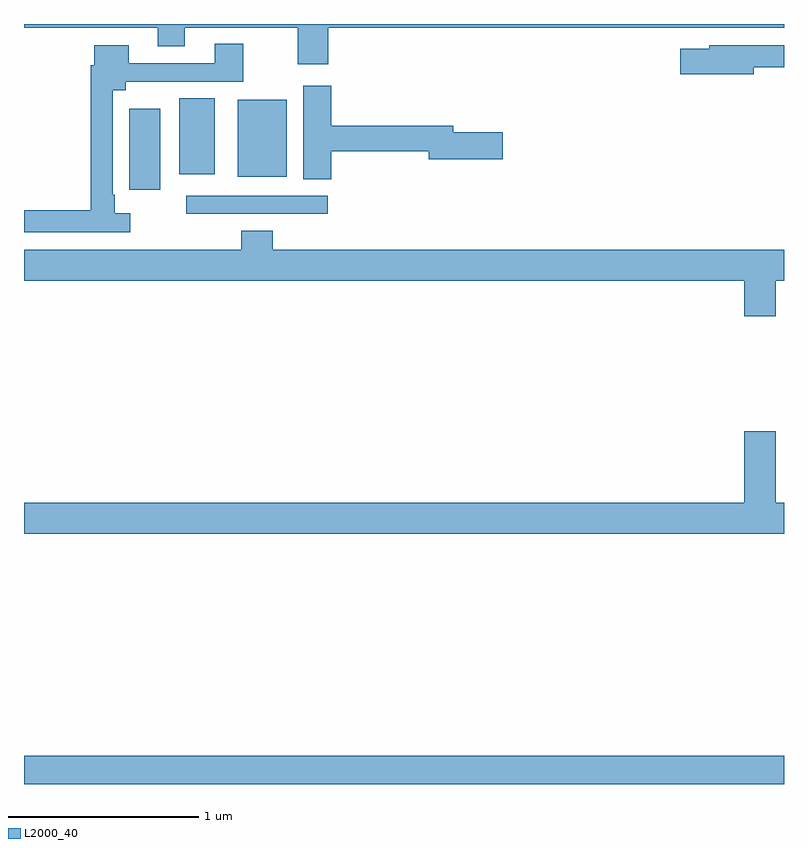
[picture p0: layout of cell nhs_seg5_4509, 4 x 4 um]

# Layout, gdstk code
import gdstk
lib = gdstk.Library(unit=1e-6, precision=1e-09)
def R(c, l, rs):  # rectangles x0, y0, x1, y1
    for r in rs: c.add(gdstk.rectangle(r[:2], r[2:], *l))
def P(c, l, *ps):  # polygons
    for p in ps: c.add(gdstk.Polygon(p, *l))
L2000_40 = (2000, 40)

nhs_seg5_4509 = lib.new_cell('nhs_seg5_4509')
R(nhs_seg5_4509, L2000_40, [(377,832.799,381,832.948), (377.853,835.8,378.598,835.896), (377.555,835.926,377.716,836.353), (378.125,835.994,378.382,836.401), (377.816,836.009,378.004,836.407)])
P(nhs_seg5_4509, L2000_40, [(378.602,836.78),(381,836.78),(381,836.799),(377,836.799),(377,836.78),(377.705,836.78),(377.705,836.681),(377.845,836.681),(377.845,836.78),(378.442,836.78),(378.442,836.586),(378.602,836.586)],
  [(377.56,835.804),(377.478,835.804),(377.478,835.9),(377.466,835.9),(377.466,836.45),(377.536,836.45),(377.536,836.496),(378.153,836.496),(378.153,836.695),(378.005,836.695),(378.005,836.592),(377.551,836.592),(377.551,836.686),(377.369,836.686),(377.369,836.582),(377.35,836.582),(377.35,835.82),(377,835.82),(377,835.704),(377.56,835.704)],
  [(380.842,836.572),(381,836.572),(381,836.688),(380.607,836.688),(380.607,836.668),(380.454,836.668),(380.454,836.534),(380.842,836.534)],
  [(378.617,836.128),(379.13,836.128),(379.13,836.086),(379.519,836.086),(379.519,836.228),(379.258,836.228),(379.258,836.264),(378.617,836.264),(378.617,836.473),(378.47,836.473),(378.47,835.981),(378.617,835.981)],
  [(380.956,835.448),(381,835.448),(381,835.612),(378.308,835.612),(378.308,835.711),(378.143,835.711),(378.143,835.612),(377,835.612),(377,835.448),(380.792,835.448),(380.792,835.26),(380.956,835.26)],
  [(381,834.28),(380.956,834.28),(380.956,834.655),(380.792,834.655),(380.792,834.28),(377,834.28),(377,834.116),(381,834.116)])

lib.write_gds('nhs_seg5_4509.gds')
